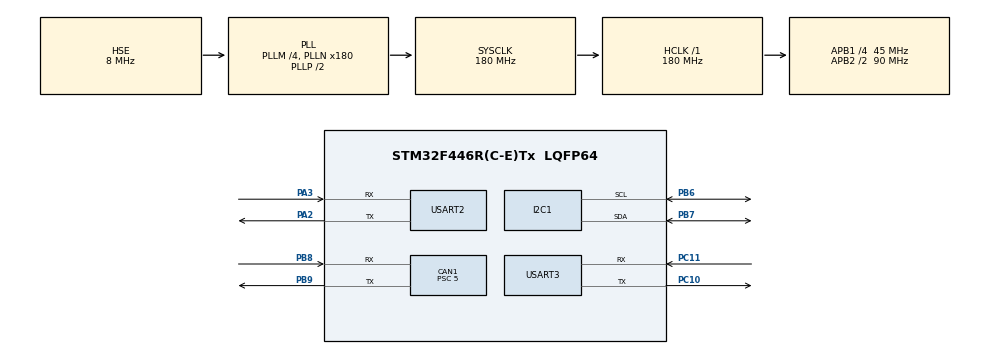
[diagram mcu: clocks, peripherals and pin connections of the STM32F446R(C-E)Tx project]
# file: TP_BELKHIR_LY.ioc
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CAN1.BS1=CAN_BS1_15TQ
CAN1.BS2=CAN_BS2_2TQ
CAN1.CalculateBaudRate=500000
CAN1.CalculateTimeBit=2000
CAN1.CalculateTimeQuantum=111.11111111111111
CAN1.Prescaler=5
CAN1.SJW=CAN_SJW_1TQ
Mcu.Family=STM32F4
Mcu.Name=STM32F446R(C-E)Tx
Mcu.Package=LQFP64
NVIC.PriorityGroup=NVIC_PRIORITYGROUP_0
NVIC.USART2_IRQn=true\:0\:0\:false\:false\:true\:true\:true\:true
NVIC.USART3_IRQn=true\:0\:0\:false\:false\:true\:true\:true\:true
PA13.Mode=Trace_Asynchronous_SW
PA13.Signal=SYS_JTMS-SWDIO
PA14.Mode=Trace_Asynchronous_SW
PA14.Signal=SYS_JTCK-SWCLK
PA2.Mode=Asynchronous
PA2.Signal=USART2_TX
PA3.Mode=Asynchronous
PA3.Signal=USART2_RX
PB3.Mode=Trace_Asynchronous_SW
PB3.Signal=SYS_JTDO-SWO
PB6.Mode=I2C
PB6.Signal=I2C1_SCL
PB7.Mode=I2C
PB7.Signal=I2C1_SDA
PB8.Mode=CAN_Activate
PB8.Signal=CAN1_RX
PB9.Mode=CAN_Activate
PB9.Signal=CAN1_TX
PC10.Mode=Asynchronous
PC10.Signal=USART3_TX
PC11.Mode=Asynchronous
PC11.Signal=USART3_RX
PH0-OSC_IN.Mode=HSE-External-Oscillator
PH0-OSC_IN.Signal=RCC_OSC_IN
PH1-OSC_OUT.Mode=HSE-External-Oscillator
PH1-OSC_OUT.Signal=RCC_OSC_OUT
ProjectManager.HeapSize=0x200
ProjectManager.StackSize=0x400
ProjectManager.TargetToolchain=STM32CubeIDE
RCC.48MHZClocksFreq_Value=84000000
RCC.AHBFreq_Value=180000000
RCC.APB1CLKDivider=RCC_HCLK_DIV4
RCC.APB1Freq_Value=45000000
RCC.APB1TimFreq_Value=90000000
RCC.APB2CLKDivider=RCC_HCLK_DIV2
RCC.APB2Freq_Value=90000000
RCC.APB2TimFreq_Value=180000000
RCC.CortexFreq_Value=180000000
RCC.FLatency-AdvancedSettings=FLASH_LATENCY_5
RCC.HCLKFreq_Value=180000000
RCC.HSE_VALUE=8000000
RCC.HSI_VALUE=16000000
RCC.PLLM=4
RCC.PLLN=180
RCC.PLLSourceVirtual=RCC_PLLSOURCE_HSE
RCC.SYSCLKFreq_VALUE=180000000
RCC.SYSCLKSource=RCC_SYSCLKSOURCE_PLLCLK
RCC.USBFreq_Value=180000000
RCC.VCOOutputFreq_Value=360000000
USART2.VirtualMode=VM_ASYNC
USART3.VirtualMode=VM_ASYNC
board=NUCLEO-F446RE

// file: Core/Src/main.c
/* USER CODE BEGIN Header */
/**
 ******************************************************************************
 * @file           : main.c
 * @brief          : Main program body
 ******************************************************************************
 * @attention
 *
 * Copyright (c) 2024 STMicroelectronics.
 * All rights reserved.
 *
 * This software is licensed under terms that can be found in the LICENSE file
 * in the root directory of this software component.
 * If no LICENSE file comes with this software, it is provided AS-IS.
 *
 ******************************************************************************
 */
/* USER CODE END Header */
#include "main.h"
#include "can.h"
#include "i2c.h"
#include "usart.h"
#include "gpio.h"

/* USER CODE BEGIN Includes */
#include <stdio.h>
#include "bmp280.h"
#include "Moteur_can.h"
#include "STM32_Raspberry.h"

/* USER CODE END Includes */

void SystemClock_Config(void);
/* USER CODE BEGIN PFP */
void Measure_Display_Temp_Pressure(void);
void CAN_SendMessage(uint16_t id, uint8_t *data, uint8_t length) ;
/* USER CODE END PFP */

/* USER CODE BEGIN 0 */
int __io_putchar(int chr)
{

	//HAL_UART_Transmit(&huart3, (uint8_t*)&chr,1, HAL_MAX_DELAY);
	HAL_UART_Transmit(&huart2, (uint8_t*)&chr,1, HAL_MAX_DELAY);
	return chr;
}

/* USER CODE END 0 */

int main(void)
{

  /* MCU Configuration--------------------------------------------------------*/

  /* Reset of all peripherals, Initializes the Flash interface and the Systick. */
  HAL_Init();

  /* Configure the system clock */
  SystemClock_Config();

  /* Initialize all configured peripherals */
  MX_GPIO_Init();
  MX_USART2_UART_Init();
  MX_I2C1_Init();
  MX_CAN1_Init();
  MX_USART3_UART_Init();
  /* USER CODE BEGIN 2 */
	printf("=============TP BUS & RESEAUX ===========\r\n") ;
	//BMP280_Init() ;
	//BMP280_ReadID() ;
	BMP280_Init();
	BMP280_ReadCalibrationData();  // Lecture des paramètres de calibration
	PI_Init();
	HAL_CAN_Start(&hcan1);

  /* USER CODE END 2 */

  /* Infinite loop */
  /* USER CODE BEGIN WHILE */
	setPositionTo0() ;
	while (1)
	{
		PI_RUN();
		moteurRun() ;
		//Mesurer et afficher les valeurs de température et de pression
		//Measure_Display_Temp_Pressure();
		// setMotorAngle( Angle90 ,Signegative) ;
		 //HAL_Delay(1000);
		 //setMotorAngle( Angle90 ,Signepositive) ;
    /* USER CODE END WHILE */

	}
}

void SystemClock_Config(void)
{
  RCC_OscInitTypeDef RCC_OscInitStruct = {0};
  RCC_ClkInitTypeDef RCC_ClkInitStruct = {0};

  /** Configure the main internal regulator output voltage
  */
  __HAL_RCC_PWR_CLK_ENABLE();
  __HAL_PWR_VOLTAGESCALING_CONFIG(PWR_REGULATOR_VOLTAGE_SCALE1);

  /** Initializes the RCC Oscillators according to the specified parameters
  * in the RCC_OscInitTypeDef structure.
  */
  RCC_OscInitStruct.OscillatorType = RCC_OSCILLATORTYPE_HSE;
  RCC_OscInitStruct.HSEState = RCC_HSE_ON;
  RCC_OscInitStruct.PLL.PLLState = RCC_PLL_ON;
  RCC_OscInitStruct.PLL.PLLSource = RCC_PLLSOURCE_HSE;
  RCC_OscInitStruct.PLL.PLLM = 4;
  RCC_OscInitStruct.PLL.PLLN = 180;
  RCC_OscInitStruct.PLL.PLLP = RCC_PLLP_DIV2;
  RCC_OscInitStruct.PLL.PLLQ = 2;
  RCC_OscInitStruct.PLL.PLLR = 2;
  if (HAL_RCC_OscConfig(&RCC_OscInitStruct) != HAL_OK)
  {
    Error_Handler();
  }

  /** Activate the Over-Drive mode
  */
  if (HAL_PWREx_EnableOverDrive() != HAL_OK)
  {
    Error_Handler();
  }

  /** Initializes the CPU, AHB and APB buses clocks
  */
  RCC_ClkInitStruct.ClockType = RCC_CLOCKTYPE_HCLK|RCC_CLOCKTYPE_SYSCLK
                              |RCC_CLOCKTYPE_PCLK1|RCC_CLOCKTYPE_PCLK2;
  RCC_ClkInitStruct.SYSCLKSource = RCC_SYSCLKSOURCE_PLLCLK;
  RCC_ClkInitStruct.AHBCLKDivider = RCC_SYSCLK_DIV1;
  RCC_ClkInitStruct.APB1CLKDivider = RCC_HCLK_DIV4;
  RCC_ClkInitStruct.APB2CLKDivider = RCC_HCLK_DIV2;

  if (HAL_RCC_ClockConfig(&RCC_ClkInitStruct, FLASH_LATENCY_5) != HAL_OK)
  {
    Error_Handler();
  }
}

/* USER CODE BEGIN 4 */
void Measure_Display_Temp_Pressure(void) {
    int32_t temperature = BMP280_ReadTemperature();
    int32_t pressure = BMP280_ReadPressure();

    if (temperature && pressure) {
        printf("Température non compensée : %ld\r\n", temperature);
        printf("Pression non compensée : %ld\r\n", pressure);

        temperature = BMP280_ConvertTemperature(temperature);
        pressure = BMP280_ConvertPressure(pressure);

        printf("Température compensée : %ld\r\n", temperature);
        printf("Pression compensée : %ld\r\n", pressure);
    } else {
        printf("Erreur de lecture des données de température ou de pression\r\n");
    }
}

/* USER CODE END 4 */

void Error_Handler(void)
{
	__disable_irq();
	while (1)
	{
	}
}
